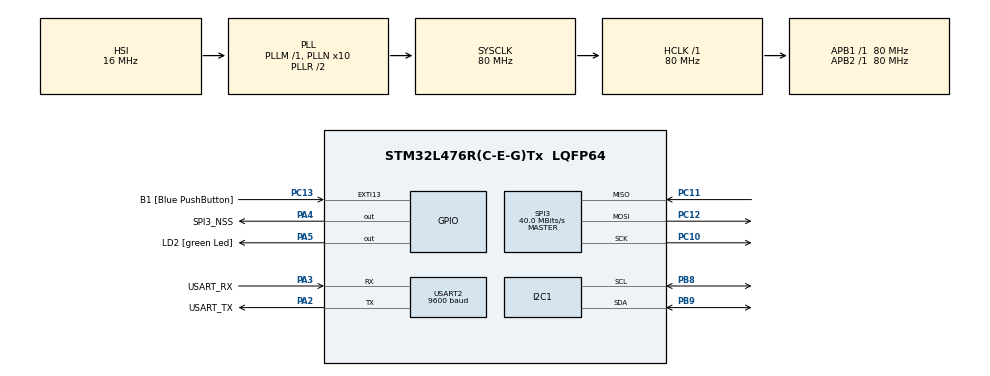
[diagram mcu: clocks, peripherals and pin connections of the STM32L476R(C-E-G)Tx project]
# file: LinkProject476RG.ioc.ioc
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FREERTOS.Tasks01=defaultTask,0,128,StartDefaultTask,Default,NULL
I2C1.OwnAddress=0x42
Mcu.Family=STM32L4
Mcu.Name=STM32L476R(C-E-G)Tx
Mcu.Package=LQFP64
NVIC.PriorityGroup=NVIC_PRIORITYGROUP_4
NVIC.SPI3_IRQn=true\:5\:0\:false\:false\:true\:true\:true
NVIC.USART2_IRQn=true\:5\:0\:false\:false\:true\:true\:true
PA13\ (JTMS-SWDIO).GPIO_Label=TMS
PA13\ (JTMS-SWDIO).Mode=Serial_Wire
PA13\ (JTMS-SWDIO).Signal=SYS_JTMS-SWDIO
PA14\ (JTCK-SWCLK).GPIO_Label=TCK
PA14\ (JTCK-SWCLK).Mode=Serial_Wire
PA14\ (JTCK-SWCLK).Signal=SYS_JTCK-SWCLK
PA2.GPIO_Label=USART_TX
PA2.GPIO_Mode=GPIO_MODE_AF_PP
PA2.GPIO_PuPd=GPIO_NOPULL
PA2.GPIO_Speed=GPIO_SPEED_FREQ_VERY_HIGH
PA2.Mode=Asynchronous
PA2.Signal=USART2_TX
PA3.GPIO_Label=USART_RX
PA3.GPIO_Mode=GPIO_MODE_AF_PP
PA3.GPIO_PuPd=GPIO_NOPULL
PA3.GPIO_Speed=GPIO_SPEED_FREQ_VERY_HIGH
PA3.Mode=Asynchronous
PA3.Signal=USART2_RX
PA4.GPIO_Label=SPI3_NSS
PA4.GPIO_Speed=GPIO_SPEED_FREQ_HIGH
PA4.PinState=GPIO_PIN_SET
PA4.Signal=GPIO_Output
PA5.GPIO_Label=LD2 [green Led]
PA5.GPIO_ModeDefaultOutputPP=GPIO_MODE_OUTPUT_PP
PA5.GPIO_PuPd=GPIO_NOPULL
PA5.GPIO_Speed=GPIO_SPEED_FREQ_LOW
PA5.Signal=GPIO_Output
PB3\ (JTDO-TRACESWO).GPIO_Label=SWO
PB3\ (JTDO-TRACESWO).Signal=SYS_JTDO-SWO
PB8.Mode=I2C
PB8.Signal=I2C1_SCL
PB9.Mode=I2C
PB9.Signal=I2C1_SDA
PC10.Mode=Full_Duplex_Master
PC10.Signal=SPI3_SCK
PC11.Mode=Full_Duplex_Master
PC11.Signal=SPI3_MISO
PC12.Mode=Full_Duplex_Master
PC12.Signal=SPI3_MOSI
PC13.GPIO_Label=B1 [Blue PushButton]
PC13.GPIO_ModeDefaultEXTI=GPIO_MODE_IT_FALLING
PC13.GPIO_PuPd=GPIO_NOPULL
PC13.Signal=GPXTI13
PC14-OSC32_IN\ (PC14).Mode=LSE-External-Oscillator
PC14-OSC32_IN\ (PC14).Signal=RCC_OSC32_IN
PC15-OSC32_OUT\ (PC15).Mode=LSE-External-Oscillator
PC15-OSC32_OUT\ (PC15).Signal=RCC_OSC32_OUT
PH0-OSC_IN\ (PH0).Signal=RCC_OSC_IN
PH1-OSC_OUT\ (PH1).Signal=RCC_OSC_OUT
ProjectManager.HeapSize=0x200
ProjectManager.StackSize=0x400
ProjectManager.TargetToolchain=EWARM
RCC.ADCFreq_Value=64000000
RCC.AHBFreq_Value=80000000
RCC.APB1Freq_Value=80000000
RCC.APB1TimFreq_Value=80000000
RCC.APB2Freq_Value=80000000
RCC.APB2TimFreq_Value=80000000
RCC.CortexFreq_Value=80000000
RCC.HCLKFreq_Value=80000000
RCC.HSE_VALUE=8000000
RCC.HSI_VALUE=16000000
RCC.MSI_VALUE=4000000
RCC.PLLN=10
RCC.PLLSourceVirtual=RCC_PLLSOURCE_HSI
RCC.PREFETCH_ENABLE=1
RCC.SYSCLKFreq_VALUE=80000000
RCC.SYSCLKSource=RCC_SYSCLKSOURCE_PLLCLK
RCC.USBFreq_Value=64000000
RCC.VCOOutputFreq_Value=160000000
SPI3.CalculateBaudRate=40.0 MBits/s
SPI3.DataSize=SPI_DATASIZE_8BIT
SPI3.Direction=SPI_DIRECTION_2LINES
SPI3.Mode=SPI_MODE_MASTER
SPI3.VirtualType=VM_MASTER
USART2.BaudRate=9600
USART2.VirtualMode-Asynchronous=VM_ASYNC
VP_FREERTOS_VS_ENABLE.Mode=Enabled
board=NUCLEO-L476RG

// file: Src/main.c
/**
  ******************************************************************************
  * @file           : main.c
  * @brief          : Main program body
  ******************************************************************************
  * This notice applies to any and all portions of this file
  * that are not between comment pairs USER CODE BEGIN and
  * USER CODE END. Other portions of this file, whether
  * inserted by the user or by software development tools
  * are owned by their respective copyright owners.
  *
  * Copyright (c) 2018 STMicroelectronics International N.V.
  * All rights reserved.
  *
  * Redistribution and use in source and binary forms, with or without
  * modification, are permitted, provided that the following conditions are met:
  *
  * 1. Redistribution of source code must retain the above copyright notice,
  *    this list of conditions and the following disclaimer.
  * 2. Redistributions in binary form must reproduce the above copyright notice,
  *    this list of conditions and the following disclaimer in the documentation
  *    and/or other materials provided with the distribution.
  * 3. Neither the name of STMicroelectronics nor the names of other
  *    contributors to this software may be used to endorse or promote products
  *    derived from this software without specific written permission.
  * 4. This software, including modifications and/or derivative works of this
  *    software, must execute solely and exclusively on microcontroller or
  *    microprocessor devices manufactured by or for STMicroelectronics.
  * 5. Redistribution and use of this software other than as permitted under
  *    this license is void and will automatically terminate your rights under
  *    this license.
  *
  * THIS SOFTWARE IS PROVIDED BY STMICROELECTRONICS AND CONTRIBUTORS "AS IS"
  * AND ANY EXPRESS, IMPLIED OR STATUTORY WARRANTIES, INCLUDING, BUT NOT
  * LIMITED TO, THE IMPLIED WARRANTIES OF MERCHANTABILITY, FITNESS FOR A
  * PARTICULAR PURPOSE AND NON-INFRINGEMENT OF THIRD PARTY INTELLECTUAL PROPERTY
  * RIGHTS ARE DISCLAIMED TO THE FULLEST EXTENT PERMITTED BY LAW. IN NO EVENT
  * SHALL STMICROELECTRONICS OR CONTRIBUTORS BE LIABLE FOR ANY DIRECT, INDIRECT,
  * INCIDENTAL, SPECIAL, EXEMPLARY, OR CONSEQUENTIAL DAMAGES (INCLUDING, BUT NOT
  * LIMITED TO, PROCUREMENT OF SUBSTITUTE GOODS OR SERVICES; LOSS OF USE, DATA,
  * OR PROFITS; OR BUSINESS INTERRUPTION) HOWEVER CAUSED AND ON ANY THEORY OF
  * LIABILITY, WHETHER IN CONTRACT, STRICT LIABILITY, OR TORT (INCLUDING
  * NEGLIGENCE OR OTHERWISE) ARISING IN ANY WAY OUT OF THE USE OF THIS SOFTWARE,
  * EVEN IF ADVISED OF THE POSSIBILITY OF SUCH DAMAGE.
  *
  ******************************************************************************
  */
#include "main.h"
#include "stm32l4xx_hal.h"
#include "cmsis_os.h"
#include "i2c.h"
#include "spi.h"
#include "usart.h"
#include "gpio.h"

/* USER CODE BEGIN PV */
/* Private variables ---------------------------------------------------------*/
//For RTOS
#define sizeBUFFER 2

typedef enum{
  THREAD_1 = 0,
  THREAD_2
} Thread_TypeDef;

osThreadId UARTReceiveHandle, SPITransmitHandle;

//counting Semaphore
SemaphoreHandle_t xReceivingSemaphore;
SemaphoreHandle_t xSendingSemaphore;

uint8_t tx_buff[sizeBUFFER];
uint8_t rx_buff[sizeBUFFER];
BaseType_t xHigherPriorityTaskWoken;
/* USER CODE END PV */

void SystemClock_Config(void);
void MX_FREERTOS_Init(void);

/* USER CODE BEGIN PFP */
/* Private function prototypes -----------------------------------------------*/
static void UART_Receive(void const *argument);
static void SPI_Transmit(void const *argument);

#define PUTCHAR_PROTOTYPE int fputc(int ch, FILE *f)

/* USER CODE END PFP */

/* USER CODE BEGIN 0 */
PUTCHAR_PROTOTYPE
{
  HAL_UART_Transmit(&huart2, (uint8_t *)&ch, 1, 1000);

  return ch;
}

/* USER CODE END 0 */

int main(void)
{

  /* MCU Configuration----------------------------------------------------------*/

  /* Reset of all peripherals, Initializes the Flash interface and the Systick. */
  HAL_Init();

  /* Configure the system clock */
  SystemClock_Config();

  /* Initialize all configured peripherals */
  MX_GPIO_Init();
  MX_USART2_UART_Init();
  MX_I2C1_Init();
  MX_SPI3_Init();
  /* USER CODE BEGIN 2 */

        //for the interrupt
        HAL_UART_Receive_IT(&huart2, (uint8_t *)&rx_buff, sizeBUFFER);

  	/* Thread 1 for UART */
//        xTaskCreate(UART_Receive, "UART_Receive", 1000, NULL, 2, NULL);
  	osThreadDef(THREAD_1, UART_Receive, osPriorityNormal, 1, configMINIMAL_STACK_SIZE);
//
//  	/* Thread 2 for SPI transmission */
  	osThreadDef(THREAD_2, SPI_Transmit, osPriorityNormal, 1, configMINIMAL_STACK_SIZE);
//
//  	/* Start Thread 1 */
  	UARTReceiveHandle = osThreadCreate(osThread(THREAD_1), NULL);
//
//  	/* Start Thread 2 */
  	SPITransmitHandle = osThreadCreate(osThread(THREAD_2), NULL);
//
//  	HAL_UART_Receive_IT(&huart2, Rx_Buffer, 1);

        //let's create a counting semaphore
        xReceivingSemaphore = xSemaphoreCreateBinary();
        xSendingSemaphore = xSemaphoreCreateBinary();

        //let's setup the interrupt Handler
        //vPortSetInterruptHandler(mainINTERRUPT_NUMBER, HAL_UART_RxCpltCallback);

  /* USER CODE END 2 */

  /* Call init function for freertos objects (in freertos.c) */
  MX_FREERTOS_Init();

  /* Start scheduler */
  osKernelStart();

  /* We should never get here as control is now taken by the scheduler */

  /* Infinite loop */
	while (1)
	{

  }
}

void SystemClock_Config(void)
{

  RCC_OscInitTypeDef RCC_OscInitStruct;
  RCC_ClkInitTypeDef RCC_ClkInitStruct;
  RCC_PeriphCLKInitTypeDef PeriphClkInit;

    /**Initializes the CPU, AHB and APB busses clocks
    */
  RCC_OscInitStruct.OscillatorType = RCC_OSCILLATORTYPE_HSI;
  RCC_OscInitStruct.HSIState = RCC_HSI_ON;
  RCC_OscInitStruct.HSICalibrationValue = 16;
  RCC_OscInitStruct.PLL.PLLState = RCC_PLL_ON;
  RCC_OscInitStruct.PLL.PLLSource = RCC_PLLSOURCE_HSI;
  RCC_OscInitStruct.PLL.PLLM = 1;
  RCC_OscInitStruct.PLL.PLLN = 10;
  RCC_OscInitStruct.PLL.PLLP = RCC_PLLP_DIV7;
  RCC_OscInitStruct.PLL.PLLQ = RCC_PLLQ_DIV2;
  RCC_OscInitStruct.PLL.PLLR = RCC_PLLR_DIV2;
  if (HAL_RCC_OscConfig(&RCC_OscInitStruct) != HAL_OK)
  {
    _Error_Handler(__FILE__, __LINE__);
  }

    /**Initializes the CPU, AHB and APB busses clocks
    */
  RCC_ClkInitStruct.ClockType = RCC_CLOCKTYPE_HCLK|RCC_CLOCKTYPE_SYSCLK
                              |RCC_CLOCKTYPE_PCLK1|RCC_CLOCKTYPE_PCLK2;
  RCC_ClkInitStruct.SYSCLKSource = RCC_SYSCLKSOURCE_PLLCLK;
  RCC_ClkInitStruct.AHBCLKDivider = RCC_SYSCLK_DIV1;
  RCC_ClkInitStruct.APB1CLKDivider = RCC_HCLK_DIV1;
  RCC_ClkInitStruct.APB2CLKDivider = RCC_HCLK_DIV1;

  if (HAL_RCC_ClockConfig(&RCC_ClkInitStruct, FLASH_LATENCY_4) != HAL_OK)
  {
    _Error_Handler(__FILE__, __LINE__);
  }

  PeriphClkInit.PeriphClockSelection = RCC_PERIPHCLK_USART2|RCC_PERIPHCLK_I2C1;
  PeriphClkInit.Usart2ClockSelection = RCC_USART2CLKSOURCE_PCLK1;
  PeriphClkInit.I2c1ClockSelection = RCC_I2C1CLKSOURCE_PCLK1;
  if (HAL_RCCEx_PeriphCLKConfig(&PeriphClkInit) != HAL_OK)
  {
    _Error_Handler(__FILE__, __LINE__);
  }

    /**Configure the main internal regulator output voltage
    */
  if (HAL_PWREx_ControlVoltageScaling(PWR_REGULATOR_VOLTAGE_SCALE1) != HAL_OK)
  {
    _Error_Handler(__FILE__, __LINE__);
  }

    /**Configure the Systick interrupt time
    */
  HAL_SYSTICK_Config(HAL_RCC_GetHCLKFreq()/1000);

    /**Configure the Systick
    */
  HAL_SYSTICK_CLKSourceConfig(SYSTICK_CLKSOURCE_HCLK);

  /* SysTick_IRQn interrupt configuration */
  HAL_NVIC_SetPriority(SysTick_IRQn, 15, 0);
}

/* USER CODE BEGIN 4 */

static void UART_Receive(void const *argument){

   for(;;){
     if(xSemaphoreTake(xReceivingSemaphore, portMAX_DELAY) == pdPASS){
          //HAL_Delay(500);
	  HAL_GPIO_TogglePin(LD2_GPIO_Port, LD2_Pin);
          //let's copy the rx_buffer to the tx_buffer

          for(int i = 0; i < sizeBUFFER; i ++){
            tx_buff[i] = rx_buff[i];
            rx_buff[i] = 0;
          }
          HAL_UART_Receive_IT(&huart2, rx_buff, sizeBUFFER);

          xSemaphoreGive(xSendingSemaphore);
      }
    }
}

static void SPI_Transmit(void const *argument){
   for(;;){
     if(xSemaphoreTake(xSendingSemaphore, portMAX_DELAY) == pdPASS ) {

          //HAL_Delay(2000);
	  //HAL_GPIO_TogglePin(LD2_GPIO_Port, LD2_Pin);
     //     HAL_Delay(2000);
        HAL_GPIO_WritePin(SPI3_NSS_GPIO_Port, SPI3_NSS_Pin, GPIO_PIN_RESET);
        HAL_SPI_Transmit(&hspi3, tx_buff, sizeBUFFER, 10);
        HAL_GPIO_WritePin(SPI3_NSS_GPIO_Port, SPI3_NSS_Pin, GPIO_PIN_SET);

	  //HAL_UART_Transmit(&huart2, tx_buff, sizeBUFFER, 1000);

          //vTaskDelay(1000);
////	  /* Resume thread UART */
//	  osThreadResume(UARTReceiveHandle);
////
////	  /* Stop this thread */
//	  osThreadSuspend(SPITransmitHandle);
//
//
     }
   }
}

void HAL_UART_RxCpltCallback(UART_HandleTypeDef *huart){
    xHigherPriorityTaskWoken = pdFALSE;
    xSemaphoreGiveFromISR(xReceivingSemaphore, &xHigherPriorityTaskWoken);
    portYIELD_FROM_ISR(xHigherPriorityTaskWoken);

}

/* USER CODE END 4 */

void _Error_Handler(char *file, int line)
{
   while(1)
   {
   }
}

/************************ (C) COPYRIGHT STMicroelectronics *****END OF FILE****/
